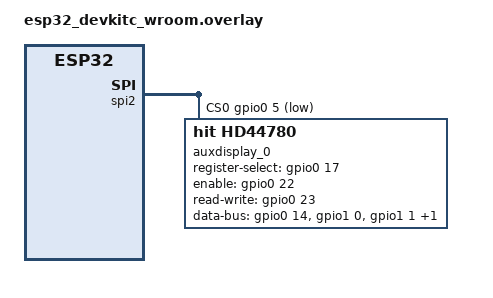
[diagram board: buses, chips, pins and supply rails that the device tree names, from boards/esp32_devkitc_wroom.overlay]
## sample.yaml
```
# This file is provided so that the application can be compiled using Twister,
# the Zephyr testing tool. In this file, multiple combinations can be specified,
# so that you can easily test all of them locally or in CI.
sample:
  description: Example application
  name: example-application 
common:
  build_only: true
  integration_platforms:
    - esp32_devkitc_wroom
tests:
  app.default: {}
  app.debug:
    extra_overlay_confs:
      - debug.conf
  sample.drivers.led.ws2812:
    tags: LED
    filter: dt_compat_enabled("worldsemi,ws2812-gpio")
    harness_config:
      fixture: fixture_led_ws2812
    integration_platforms:
      - esp32_devkitc_wroom
  sample.drivers.auxdisplay:
    tags: auxdisplay
    harness_config:
      fixture: fixture_auxdisplay
    integration_platforms:
      - esp32_devkitc_wroom
```

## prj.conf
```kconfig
# Copyright (c) 2021 Nordic Semiconductor ASA
# SPDX-License-Identifier: Apache-2.0
#
# This file contains selected Kconfig options for the application.

CONFIG_LOG=y
CONFIG_AUXDISPLAY=y
```

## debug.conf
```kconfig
# Copyright (c) 2021 Nordic Semiconductor ASA
# SPDX-License-Identifier: Apache-2.0
#
# This is a Kconfig fragment which can be used to enable debug-related options
# in the application. See the README for more details.

# compiler
CONFIG_DEBUG_OPTIMIZATIONS=y

# console
CONFIG_CONSOLE=y

# UART console
CONFIG_SERIAL=y
CONFIG_UART_CONSOLE=y

# logging
CONFIG_LOG=y
CONFIG_APP_LOG_LEVEL_DBG=y
CONFIG_AUXDISPLAY=y
```

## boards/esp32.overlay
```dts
/ {
    buttons {
		compatible = "gpio-keys";
		button0: button_0 {
			gpios = <&gpio0 18 (GPIO_PULL_UP | GPIO_ACTIVE_LOW)>;
			label = "Push button switch 0";
			zephyr,code = <INPUT_KEY_0>;
		};
		// button1: button_1 {
		// 	gpios = <&gpio0 12 (GPIO_PULL_UP | GPIO_ACTIVE_LOW)>;
		// 	label = "Push button switch 1";
		// 	zephyr,code = <INPUT_KEY_1>;
		// };
		// button2: button_2 {
		// 	gpios = <&gpio0 24 (GPIO_PULL_UP | GPIO_ACTIVE_LOW)>;
		// 	label = "Push button switch 2";
		// 	zephyr,code = <INPUT_KEY_2>;
		// };
		// button3: button_3 {
		// 	gpios = <&gpio0 25 (GPIO_PULL_UP | GPIO_ACTIVE_LOW)>;
		// 	label = "Push button switch 3";
		// 	zephyr,code = <INPUT_KEY_3>;
		// };
	};
};
```

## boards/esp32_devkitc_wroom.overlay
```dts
/*
 * Copyright (c) 2023 Chen Xingyu <hi@xingrz.me>
 * SPDX-License-Identifier: Apache-2.0
 */

#include <freq.h>

&spi2 {
    cs-gpios = <&gpio0 5 GPIO_ACTIVE_LOW>;
    
    auxdisplay_0: auxdisplay@0 {
        reg = <0>;
        compatible = "hit,hd44780";
        status = "okay";

        columns = <20>;
        rows = <4>;
        mode = <4>;
        register-select-gpios = <&gpio0 17 (GPIO_ACTIVE_HIGH)>;
        enable-gpios = <&gpio0 22 (GPIO_ACTIVE_HIGH)>;
        read-write-gpios = <&gpio0 23 (GPIO_ACTIVE_HIGH)>;
        data-bus-gpios = <0>,
                         <0>,
                         <0>,
                         <0>,
                         <&gpio0 14 (GPIO_ACTIVE_HIGH)>,
                         <&gpio1 0 (GPIO_ACTIVE_HIGH)>,
                         <&gpio1 1 (GPIO_ACTIVE_HIGH)>,
                         <&gpio0 27 (GPIO_ACTIVE_HIGH)>;
    };
};
```

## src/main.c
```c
/*
 * Copyright (c) 2023 Jamie McCrae
 *
 * SPDX-License-Identifier: Apache-2.0
 */

#include <string.h>
#include <zephyr/device.h>
#include <zephyr/drivers/auxdisplay.h>
#include <zephyr/kernel.h>
#include <zephyr/logging/log.h>

LOG_MODULE_REGISTER(auxdisplay_sample, LOG_LEVEL_DBG);

int main(void) {
  int rc;
  const struct device *const dev = DEVICE_DT_GET(DT_NODELABEL(auxdisplay_0));
  uint8_t data[6] = "Hello";

  if (!device_is_ready(dev)) {
    LOG_ERR("Auxdisplay device is not ready.");
    return 0;
  }

  rc = auxdisplay_cursor_set_enabled(dev, false);

  if (rc != 0) {
    LOG_ERR("Failed to enable cursor: %d", rc);
  }

  // snprintk(data, sizeof(data), "Hello world from %s", CONFIG_BOARD);
  while (true) {

    rc = auxdisplay_write(dev, data, strlen(data));

    if (rc != 0) {
      LOG_ERR("Failed to write data: %d", rc);
    }
    LOG_INF("Sent data: %s", data);

    // rc =
    //     auxdisplay_cursor_position_set(dev, AUXDISPLAY_POSITION_ABSOLUTE, 0,
    //     0);
    // if (rc != 0) {
    //   LOG_ERR("Failed to set cursor position: %d", rc);
    // }

    k_sleep(K_MSEC(1000));
  }

  LOG_INF("Sample application has completed.");
  return 0;
}
```
